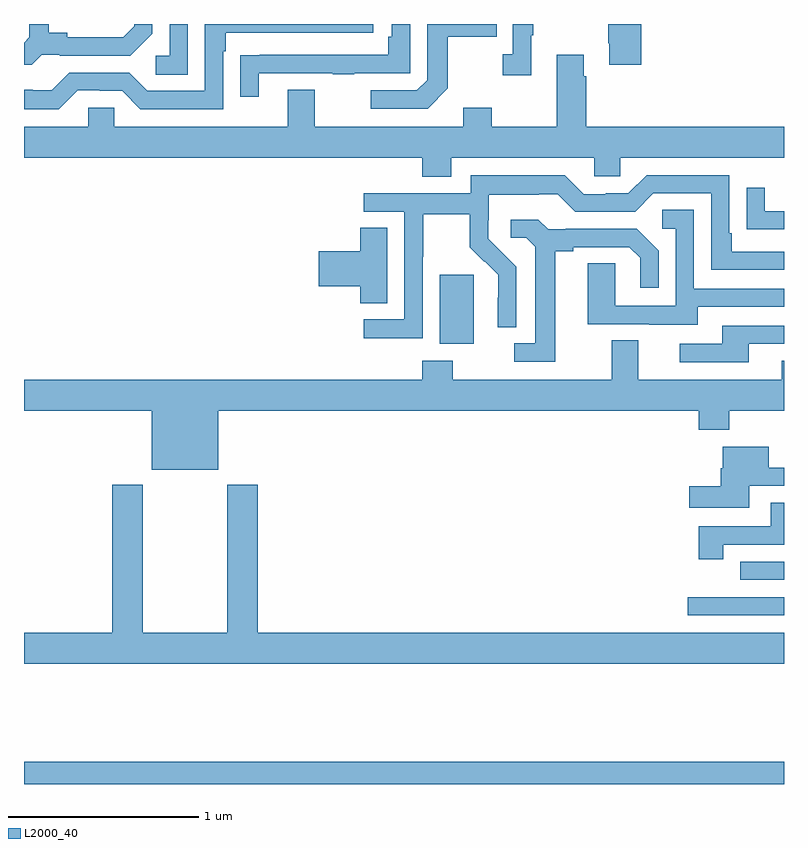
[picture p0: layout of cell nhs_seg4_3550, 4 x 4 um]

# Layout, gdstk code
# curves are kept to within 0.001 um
import gdstk
lib = gdstk.Library(unit=1e-6, precision=1e-09)
def R(c, l, rs):  # rectangles x0, y0, x1, y1
    for r in rs: c.add(gdstk.rectangle(r[:2], r[2:], *l))
def P(c, l, *ps):  # polygons
    for p in ps: c.add(gdstk.Polygon(p, *l))
L2000_40 = (2000, 40)

nhs_seg4_3550 = lib.new_cell('nhs_seg4_3550')
R(nhs_seg4_3550, L2000_40, [(299,750.9,303,751.016), (302.493,751.788,303,751.884), (302.769,751.974,303,752.07), (301.187,753.218,301.366,753.579)])
P(nhs_seg4_3550, L2000_40, [(299.283,754.551),(299.399,754.551),(299.399,754.548),(299.517,754.548),(299.613,754.452),(300.048,754.452),(300.048,754.757),(300.061,754.757),(300.061,754.854),(300.838,754.854),(300.838,754.9),(299.952,754.9),(299.952,754.548),(299.649,754.548),(299.553,754.644),(299.238,754.644),(299.145,754.551),(299.045,754.551),(299.045,754.555),(299,754.555),(299,754.451),(299.183,754.451)],
  [(301.231,754.561),(301.231,754.834),(301.487,754.834),(301.487,754.9),(301.122,754.9),(301.122,754.605),(301.068,754.551),(300.825,754.551),(300.825,754.455),(301.125,754.455)],
  [(302.249,754.9),(302.074,754.9),(302.074,754.798),(302.081,754.798),(302.081,754.686),(302.249,754.686)],
  [(299.094,754.737),(299.188,754.737),(299.188,754.734),(299.56,754.734),(299.676,754.85),(299.676,754.9),(299.579,754.9),(299.579,754.887),(299.522,754.83),(299.227,754.83),(299.227,754.853),(299.131,754.853),(299.131,754.9),(299.027,754.9),(299.027,754.829),(299,754.802),(299,754.685),(299.042,754.685)],
  [(300.235,754.641),(300.625,754.641),(300.625,754.636),(300.737,754.636),(300.737,754.641),(301.032,754.641),(301.032,754.9),(300.936,754.9),(300.936,754.834),(300.916,754.834),(300.916,754.737),(300.241,754.737),(300.241,754.736),(300.139,754.736),(300.139,754.518),(300.235,754.518)],
  [(299.862,754.9),(299.766,754.9),(299.766,754.734),(299.694,754.734),(299.694,754.633),(299.862,754.633)],
  [(301.669,754.841),(301.681,754.841),(301.681,754.9),(301.572,754.9),(301.572,754.742),(301.521,754.742),(301.521,754.629),(301.669,754.629)],
  [(301.249,754.196),(302.001,754.196),(302.001,754.098),(302.139,754.098),(302.139,754.196),(303,754.196),(303,754.36),(301.958,754.36),(301.958,754.625),(301.945,754.625),(301.945,754.738),(301.805,754.738),(301.805,754.36),(301.461,754.36),(301.461,754.459),(301.313,754.459),(301.313,754.36),(300.529,754.36),(300.529,754.555),(300.389,754.555),(300.389,754.36),(299.475,754.36),(299.475,754.458),(299.337,754.458),(299.337,754.36),(299,754.36),(299,754.196),(301.097,754.196),(301.097,754.097),(301.249,754.097)],
  [(301.002,753.912),(301.002,753.345),(300.789,753.345),(300.789,753.247),(301.098,753.247),(301.098,753.676),(301.101,753.676),(301.101,753.9),(301.345,753.9),(301.345,753.725),(301.422,753.648),(301.425,753.651),(301.496,753.581),(301.496,753.458),(301.494,753.458),(301.494,753.304),(301.59,753.304),(301.59,753.622),(301.444,753.77),(301.444,753.867),(301.446,753.867),(301.446,754.001),(301.709,754.001),(301.709,754.005),(301.809,754.005),(301.902,753.912),(302.217,753.912),(302.313,754.008),(302.616,754.008),(302.616,753.606),(303,753.606),(303,753.702),(302.725,753.702),(302.725,753.799),(302.712,753.799),(302.712,754.104),(302.277,754.104),(302.181,754.008),(302.063,754.008),(302.063,754.005),(301.947,754.005),(301.847,754.105),(301.35,754.105),(301.35,754.008),(300.789,754.008),(300.789,753.912)],
  [(303,753.915),(302.899,753.915),(302.899,754.039),(302.803,754.039),(302.803,753.82),(302.905,753.82),(302.905,753.819),(303,753.819)],
  [(302.545,753.411),(303,753.411),(303,753.507),(302.526,753.507),(302.526,753.923),(302.358,753.923),(302.358,753.822),(302.43,753.822),(302.43,753.417),(302.112,753.417),(302.112,753.641),(301.967,753.641),(301.967,753.321),(302.291,753.321),(302.291,753.317),(302.545,753.317)],
  [(301.795,753.704),(301.891,753.704),(301.891,753.726),(302.186,753.726),(302.243,753.669),(302.243,753.513),(302.34,753.513),(302.34,753.706),(302.224,753.822),(301.852,753.822),(301.852,753.819),(301.758,753.819),(301.706,753.871),(301.563,753.871),(301.563,753.774),(301.644,753.774),(301.691,753.727),(301.691,753.219),(301.581,753.219),(301.581,753.123),(301.795,753.123)],
  [(300.913,753.827),(300.77,753.827),(300.77,753.704),(300.552,753.704),(300.552,753.521),(300.77,753.521),(300.77,753.43),(300.913,753.43)],
  [(302.815,753.216),(303,753.216),(303,753.312),(302.675,753.312),(302.675,753.216),(302.451,753.216),(302.451,753.12),(302.815,753.12)],
  [(300.022,752.864),(302.552,752.864),(302.552,752.765),(302.712,752.765),(302.712,752.864),(303,752.864),(303,753.127),(302.987,753.127),(302.987,753.028),(302.233,753.028),(302.233,753.236),(302.093,753.236),(302.093,753.028),(301.257,753.028),(301.257,753.127),(301.097,753.127),(301.097,753.028),(299,753.028),(299,752.864),(299.672,752.864),(299.672,752.555),(300.022,752.555)],
  [(302.818,752.469),(303,752.469),(303,752.565),(302.92,752.565),(302.92,752.674),(302.678,752.674),(302.678,752.562),(302.666,752.562),(302.666,752.468),(302.502,752.468),(302.502,752.354),(302.818,752.354)],
  [(303,751.696),(300.23,751.696),(300.23,752.476),(300.07,752.476),(300.07,751.696),(299.625,751.696),(299.625,752.476),(299.465,752.476),(299.465,751.696),(299,751.696),(299,751.532),(303,751.532)],
  [(302.68,752.16),(303,752.16),(303,752.38),(302.93,752.38),(302.93,752.256),(302.55,752.256),(302.55,752.082),(302.68,752.082)])

lib.write_gds('nhs_seg4_3550.gds')
